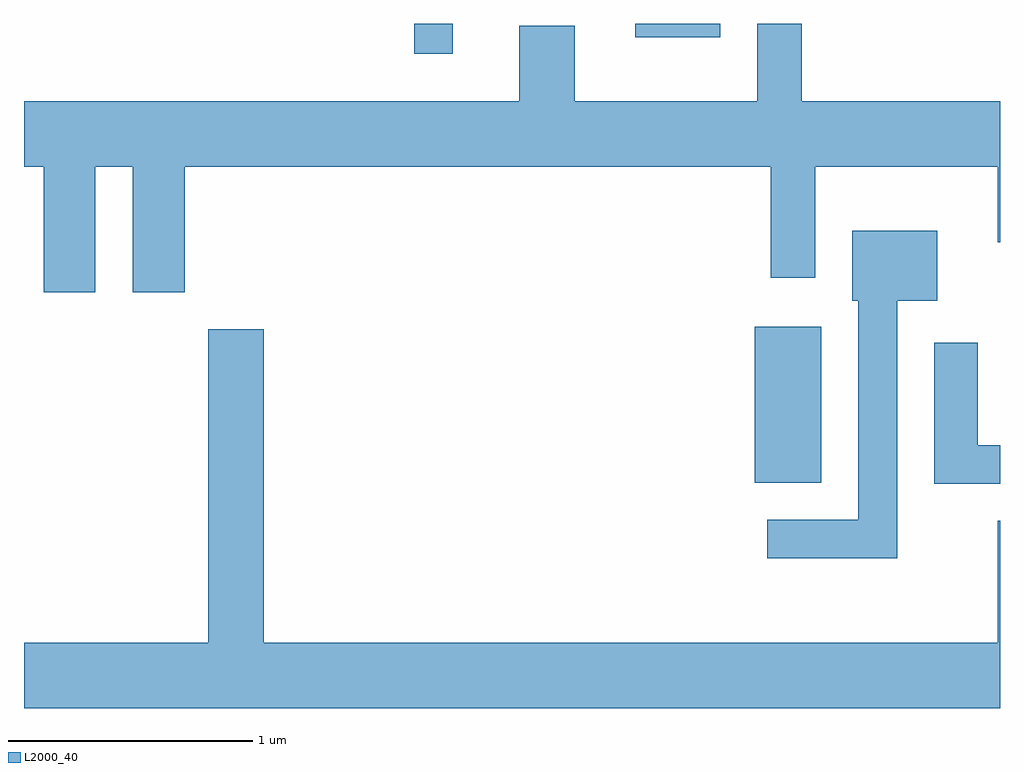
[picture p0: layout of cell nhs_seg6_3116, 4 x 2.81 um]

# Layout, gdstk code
import gdstk
lib = gdstk.Library(unit=1e-6, precision=1e-09)
def R(c, l, rs):  # rectangles x0, y0, x1, y1
    for r in rs: c.add(gdstk.rectangle(r[:2], r[2:], *l))
def P(c, l, *ps):  # polygons
    for p in ps: c.add(gdstk.Polygon(p, *l))
L2000_40 = (2000, 40)

nhs_seg6_3116 = lib.new_cell('nhs_seg6_3116')
R(nhs_seg6_3116, L2000_40, [(282.606,1564.281,282.879,1564.919), (281.211,1566.038,281.369,1566.162), (282.116,1566.106,282.464,1566.162)])
P(nhs_seg6_3116, L2000_40, [(279.904,1565.576),(280.056,1565.576),(280.056,1565.061),(280.269,1565.061),(280.269,1565.576),(282.671,1565.576),(282.671,1565.121),(282.854,1565.121),(282.854,1565.576),(283.601,1565.576),(283.601,1565.266),(283.611,1565.266),(283.611,1565.844),(282.799,1565.844),(282.799,1566.162),(282.616,1566.162),(282.616,1565.844),(281.869,1565.844),(281.869,1566.154),(281.641,1566.154),(281.641,1565.844),(279.611,1565.844),(279.611,1565.576),(279.691,1565.576),(279.691,1565.061),(279.904,1565.061)],
  [(283.189,1565.026),(283.354,1565.026),(283.354,1565.314),(283.006,1565.314),(283.006,1565.026),(283.031,1565.026),(283.031,1564.129),(282.658,1564.129),(282.658,1563.971),(283.189,1563.971)],
  [(283.611,1564.124),(283.601,1564.124),(283.601,1563.624),(280.594,1563.624),(280.594,1564.909),(280.366,1564.909),(280.366,1563.624),(279.611,1563.624),(279.611,1563.356),(283.611,1563.356)],
  [(283.611,1564.434),(283.519,1564.434),(283.519,1564.854),(283.341,1564.854),(283.341,1564.276),(283.611,1564.276)])

lib.write_gds('nhs_seg6_3116.gds')
